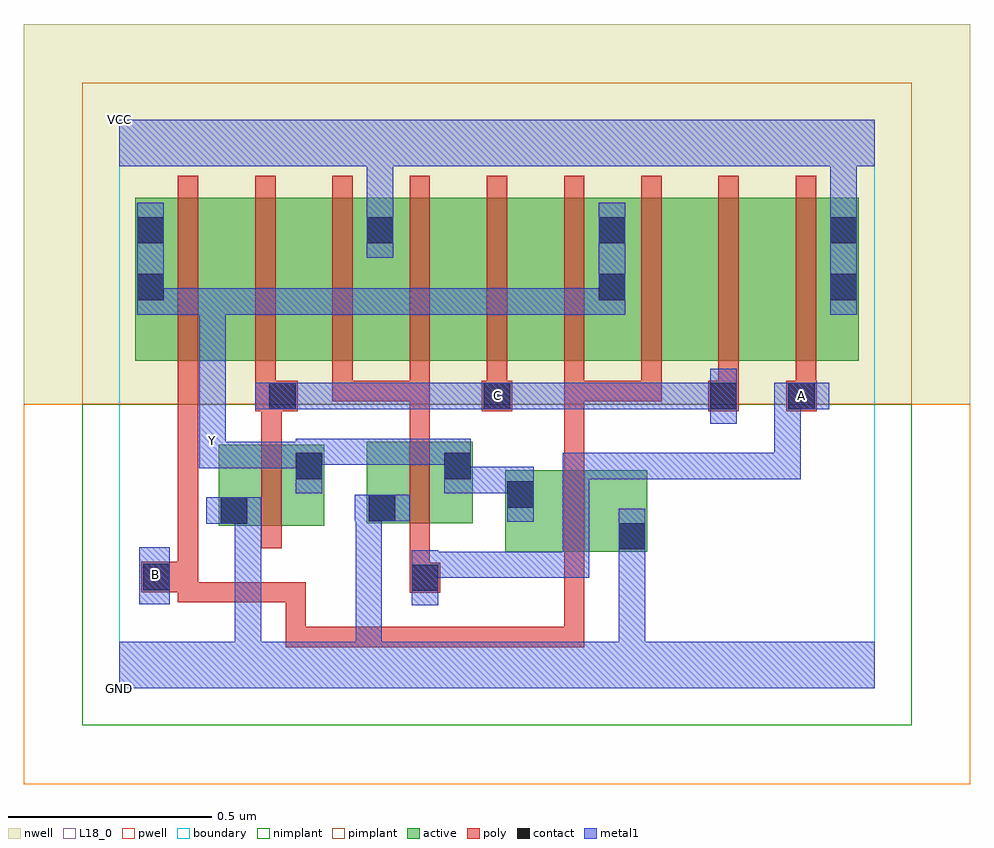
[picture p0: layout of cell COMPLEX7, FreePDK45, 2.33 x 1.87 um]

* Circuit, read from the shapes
.subckt COMPLEX7 A B C GND VCC Y
M1 Y C GND VSUBS nfet w=0.2u l=0.05u
M2 Y A GND VSUBS nfet w=0.2u l=0.05u
M3 GND B Y VSUBS nfet w=0.2u l=0.05u
M4 n1 B Y n2 pfet w=0.4u l=0.05u
M5 n3 C n1 n2 pfet w=0.4u l=0.05u
M6 VCC A n3 n2 pfet w=0.4u l=0.05u
M7 n4 A VCC n2 pfet w=0.4u l=0.05u
M8 n5 C n4 n2 pfet w=0.4u l=0.05u
M9 Y B n5 n2 pfet w=0.4u l=0.05u
M10 n6 B Y n2 pfet w=0.4u l=0.05u
M11 n7 C n6 n2 pfet w=0.4u l=0.05u
M12 VCC A n7 n2 pfet w=0.4u l=0.05u
.ends

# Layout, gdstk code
import gdstk
lib = gdstk.Library(unit=1e-6, precision=1e-09)
def R(c, l, rs):  # rectangles x0, y0, x1, y1
    for r in rs: c.add(gdstk.rectangle(r[:2], r[2:], *l))
def A(c, l, x, y, w, h, nx, ny, dx, dy):  # array of equal rectangles
    R(c, l, [(x+i*dx, y+j*dy, x+i*dx+w, y+j*dy+h) for i in range(nx) for j in range(ny)])
active = (1, 0)
pwell = (2, 0)
nwell = (3, 0)
nimplant = (4, 0)
pimplant = (5, 0)
poly = (9, 0)
contact = (10, 0)
metal1 = (11, 0)
L18_0 = (18, 0)
boundary = (235, 0)

complex7 = lib.new_cell('COMPLEX7')
A(complex7, active, 0.265, 0.807, 0.19, 0.4, 3, 1, 0.57, 0)
A(complex7, active, 0.455, 0.807, 0.225, 0.4, 3, 1, 0.57, 0)
R(complex7, active, [(0.95,0.337,1.3,0.537), (1.225,0.337,1.3,0.537), (0.245,0.4,0.32,0.6), (0.245,0.4,0.505,0.6), (0.43,0.4,0.505,0.6), (0.61,0.407,0.685,0.607), (0.61,0.407,0.87,0.607), (0.795,0.407,0.87,0.607), (0.95,0.44,1.025,0.537), (0.04,0.807,0.265,1.207), (0.04,0.807,0.115,1.165), (0.605,0.807,0.68,1.207), (0.605,0.807,0.835,1.207), (1.175,0.807,1.405,1.207), (1.175,0.807,1.25,1.2), (1.745,0.807,1.82,1.207)])
R(complex7, pwell, [(-0.235,-0.235,2.095,0.7)])
R(complex7, nwell, [(-0.235,0.7,2.095,1.635)])
R(complex7, nimplant, [(-0.09,-0.09,1.95,0.7)])
R(complex7, pimplant, [(-0.09,0.7,1.95,1.49)])
A(complex7, poly, 0.335, 0.707, 0.05, 0.095, 8, 1, 0.19, 0)
A(complex7, poly, 0.145, 0.752, 0.05, 0.51, 9, 1, 0.19, 0)
R(complex7, poly, [(0.41,0.102,0.46,0.152), (0.41,0.102,0.707,0.152), (0.41,0.102,0.46,0.262), (0.657,0.102,0.707,0.152), (0.657,0.102,0.707,0.152), (0.657,0.102,0.707,0.152), (0.657,0.102,0.84,0.152), (0.79,0.102,0.84,0.152), (0.79,0.102,0.972,0.152), (0.922,0.102,0.972,0.152), (0.922,0.102,0.972,0.152), (0.922,0.102,0.972,0.152), (0.922,0.102,0.972,0.152), (0.922,0.102,0.972,0.152), (0.922,0.102,1.145,0.152), (1.095,0.102,1.145,0.152), (1.095,0.102,1.145,0.332), (0.145,0.212,0.195,0.262), (0.145,0.212,0.195,0.262), (0.145,0.212,0.195,0.262), (0.145,0.212,0.195,0.262), (0.145,0.212,0.195,0.262), (0.145,0.212,0.195,0.262), (0.145,0.212,0.195,0.262), (0.145,0.212,0.327,0.262), (0.145,0.212,0.195,0.287), (0.277,0.212,0.327,0.262), (0.277,0.212,0.327,0.262), (0.277,0.212,0.327,0.262), (0.277,0.212,0.46,0.262), (0.41,0.212,0.46,0.262), (0.715,0.235,0.79,0.31), (0.055,0.237,0.195,0.312), (0.715,0.26,0.765,0.402), (0.145,0.262,0.195,0.802), (1.095,0.282,1.145,0.592), (0.35,0.345,0.4,0.655), (0.715,0.352,0.765,0.662), (1.095,0.542,1.145,0.757), (0.35,0.605,0.4,0.732), (0.715,0.612,0.765,0.757), (0.335,0.682,0.44,0.757), (0.892,0.682,0.967,0.757), (1.45,0.682,1.525,0.757), (1.642,0.682,1.717,0.757), (0.525,0.707,0.575,0.757), (0.525,0.707,0.707,0.757), (0.657,0.707,0.707,0.757), (0.657,0.707,0.765,0.757), (0.715,0.707,0.765,0.757), (1.095,0.707,1.335,0.757), (1.095,0.707,1.145,0.757), (1.095,0.707,1.145,0.757), (1.095,0.707,1.145,0.757), (1.285,0.707,1.335,0.757)])
A(complex7, contact, 0.61, 1.095, 0.065, 0.065, 3, 1, 0.57, 0)
R(complex7, contact, [(0.72,0.24,0.785,0.305), (0.06,0.242,0.125,0.307), (1.23,0.342,1.295,0.407), (0.25,0.405,0.315,0.47), (0.615,0.412,0.68,0.477), (0.955,0.445,1.02,0.51), (0.435,0.515,0.5,0.58), (0.8,0.515,0.865,0.58), (0.37,0.687,0.435,0.752), (0.897,0.687,0.962,0.752), (1.455,0.687,1.52,0.752), (1.647,0.687,1.712,0.752), (0.045,0.955,0.11,1.02), (1.18,0.955,1.245,1.02), (1.75,0.955,1.815,1.02), (0.045,1.095,0.11,1.16)])
R(complex7, metal1, [(0,0,1.86,0.115), (0.285,0.05,0.35,0.135), (0.582,0.05,0.647,0.115), (0.582,0.05,0.647,0.115), (0.582,0.05,0.647,0.115), (0.582,0.05,0.647,0.115), (0.582,0.05,0.647,0.115), (0.582,0.05,0.647,0.115), (0.582,0.05,0.647,0.477), (1.23,0.05,1.295,0.372), (0.285,0.07,0.35,0.135), (0.285,0.07,0.35,0.135), (0.285,0.07,0.35,0.135), (0.285,0.07,0.35,0.135), (0.285,0.07,0.35,0.135), (0.285,0.07,0.35,0.47), (0.72,0.205,0.785,0.34), (0.05,0.207,0.125,0.347), (0.72,0.272,0.785,0.337), (0.72,0.272,0.785,0.337), (0.72,0.272,1.02,0.337), (0.955,0.272,1.02,0.337), (0.955,0.272,1.02,0.337), (0.955,0.272,1.02,0.337), (0.955,0.272,1.02,0.337), (0.955,0.272,1.02,0.337), (0.955,0.272,1.157,0.337), (1.092,0.272,1.157,0.337), (1.092,0.272,1.157,0.58), (1.23,0.307,1.295,0.372), (1.23,0.307,1.295,0.372), (1.23,0.307,1.295,0.372), (1.23,0.307,1.295,0.372), (1.23,0.307,1.295,0.372), (1.23,0.307,1.295,0.372), (1.23,0.307,1.295,0.442), (0.215,0.405,0.35,0.47), (0.955,0.41,1.02,0.545), (0.58,0.412,0.715,0.477), (0.435,0.48,0.5,0.615), (0.8,0.48,0.865,0.615), (0.8,0.48,1.02,0.545), (0.955,0.48,1.02,0.545), (0.955,0.48,1.02,0.545), (1.092,0.515,1.157,0.58), (1.092,0.515,1.157,0.58), (1.092,0.515,1.157,0.58), (1.092,0.515,1.382,0.58), (1.317,0.515,1.382,0.58), (1.317,0.515,1.54,0.58), (1.475,0.515,1.54,0.58), (1.475,0.515,1.54,0.58), (1.475,0.515,1.54,0.58), (1.475,0.515,1.677,0.58), (1.612,0.515,1.677,0.58), (1.612,0.515,1.677,0.752), (0.197,0.542,0.262,0.607), (0.197,0.542,0.262,0.607), (0.197,0.542,0.262,0.607), (0.197,0.542,0.262,0.607), (0.197,0.542,0.262,0.677), (0.197,0.542,0.5,0.607), (0.435,0.55,0.607,0.615), (0.542,0.55,0.607,0.615), (0.542,0.55,0.637,0.615), (0.572,0.55,0.637,0.615), (0.572,0.55,0.745,0.615), (0.68,0.55,0.745,0.615), (0.68,0.55,0.865,0.615), (0.197,0.612,0.262,0.985), (1.455,0.652,1.52,0.787), (0.335,0.687,0.47,0.752), (0.405,0.687,0.47,0.752), (0.405,0.687,0.47,0.752), (0.405,0.687,0.607,0.752), (0.542,0.687,0.607,0.752), (0.542,0.687,0.637,0.752), (0.572,0.687,0.637,0.752), (0.572,0.687,0.79,0.752), (0.725,0.687,0.79,0.752), (0.725,0.687,0.882,0.752), (0.817,0.687,0.882,0.752), (0.817,0.687,0.927,0.752), (0.862,0.687,1.02,0.752), (0.955,0.687,1.02,0.752), (0.955,0.687,1.02,0.752), (0.955,0.687,1.245,0.752), (1.18,0.687,1.245,0.752), (1.18,0.687,1.245,0.752), (1.18,0.687,1.245,0.752), (1.18,0.687,1.382,0.752), (1.317,0.687,1.382,0.752), (1.317,0.687,1.52,0.752), (1.455,0.687,1.52,0.752), (1.455,0.687,1.52,0.752), (1.612,0.687,1.677,0.752), (1.612,0.687,1.677,0.752), (1.612,0.687,1.747,0.752), (0.045,0.92,0.11,1.195), (0.045,0.92,0.11,0.985), (0.045,0.92,0.11,0.985), (0.045,0.92,0.262,0.985), (0.197,0.92,0.262,0.985), (0.197,0.92,0.262,0.985), (0.197,0.92,0.262,0.985), (0.197,0.92,0.47,0.985), (0.405,0.92,0.47,0.985), (0.405,0.92,0.607,0.985), (0.542,0.92,0.607,0.985), (0.542,0.92,0.637,0.985), (0.572,0.92,0.637,0.985), (0.572,0.92,0.79,0.985), (0.725,0.92,0.79,0.985), (0.725,0.92,0.79,0.985), (0.725,0.92,0.79,0.985), (0.725,0.92,1.02,0.985), (0.955,0.92,1.02,0.985), (0.955,0.92,1.02,0.985), (0.955,0.92,1.02,0.985), (0.955,0.92,1.245,0.985), (1.18,0.92,1.245,1.195), (1.18,0.92,1.245,0.985), (1.18,0.92,1.245,0.985), (1.75,0.92,1.815,1.195), (0.61,1.06,0.675,1.195), (0.61,1.13,0.675,1.35), (1.75,1.13,1.815,1.35), (0,1.285,1.86,1.4)])
R(complex7, L18_0, [(0,0,1.86,0.115), (0.285,0.05,0.35,0.135), (0.582,0.05,0.647,0.115), (0.582,0.05,0.647,0.115), (0.582,0.05,0.647,0.115), (0.582,0.05,0.647,0.115), (0.582,0.05,0.647,0.115), (0.582,0.05,0.647,0.115), (0.582,0.05,0.647,0.477), (1.23,0.05,1.295,0.372), (0.285,0.07,0.35,0.135), (0.285,0.07,0.35,0.135), (0.285,0.07,0.35,0.135), (0.285,0.07,0.35,0.135), (0.285,0.07,0.35,0.135), (0.285,0.07,0.35,0.47), (0.72,0.205,0.785,0.34), (0.05,0.207,0.125,0.347), (0.057,0.247,0.122,0.312), (0.72,0.272,0.785,0.337), (0.72,0.272,0.785,0.337), (0.72,0.272,1.02,0.337), (0.955,0.272,1.02,0.337), (0.955,0.272,1.02,0.337), (0.955,0.272,1.02,0.337), (0.955,0.272,1.02,0.337), (0.955,0.272,1.02,0.337), (0.955,0.272,1.157,0.337), (1.092,0.272,1.157,0.337), (1.092,0.272,1.157,0.58), (1.23,0.307,1.295,0.372), (1.23,0.307,1.295,0.372), (1.23,0.307,1.295,0.372), (1.23,0.307,1.295,0.372), (1.23,0.307,1.295,0.372), (1.23,0.307,1.295,0.372), (1.23,0.307,1.295,0.442), (0.215,0.405,0.35,0.47), (0.955,0.41,1.02,0.545), (0.58,0.412,0.715,0.477), (0.435,0.48,0.5,0.615), (0.8,0.48,0.865,0.615), (0.8,0.48,1.02,0.545), (0.955,0.48,1.02,0.545), (0.955,0.48,1.02,0.545), (1.092,0.515,1.157,0.58), (1.092,0.515,1.157,0.58), (1.092,0.515,1.157,0.58), (1.092,0.515,1.382,0.58), (1.317,0.515,1.382,0.58), (1.317,0.515,1.54,0.58), (1.475,0.515,1.54,0.58), (1.475,0.515,1.54,0.58), (1.475,0.515,1.54,0.58), (1.475,0.515,1.677,0.58), (1.612,0.515,1.677,0.58), (1.612,0.515,1.677,0.752), (0.197,0.542,0.262,0.607), (0.197,0.542,0.262,0.607), (0.197,0.542,0.262,0.607), (0.197,0.542,0.262,0.607), (0.197,0.542,0.262,0.677), (0.197,0.542,0.5,0.607), (0.435,0.55,0.607,0.615), (0.542,0.55,0.607,0.615), (0.542,0.55,0.637,0.615), (0.572,0.55,0.637,0.615), (0.572,0.55,0.745,0.615), (0.68,0.55,0.745,0.615), (0.68,0.55,0.865,0.615), (0.197,0.577,0.262,0.642), (0.197,0.612,0.262,0.985), (1.455,0.652,1.52,0.787), (0.335,0.687,0.47,0.752), (0.405,0.687,0.47,0.752), (0.405,0.687,0.47,0.752), (0.405,0.687,0.607,0.752), (0.542,0.687,0.607,0.752), (0.542,0.687,0.637,0.752), (0.572,0.687,0.637,0.752), (0.572,0.687,0.79,0.752), (0.725,0.687,0.79,0.752), (0.725,0.687,0.882,0.752), (0.817,0.687,0.882,0.752), (0.817,0.687,0.927,0.752), (0.862,0.687,1.02,0.752), (0.897,0.687,0.962,0.752), (0.955,0.687,1.02,0.752), (0.955,0.687,1.02,0.752), (0.955,0.687,1.245,0.752), (1.18,0.687,1.245,0.752), (1.18,0.687,1.245,0.752), (1.18,0.687,1.245,0.752), (1.18,0.687,1.382,0.752), (1.317,0.687,1.382,0.752), (1.317,0.687,1.52,0.752), (1.455,0.687,1.52,0.752), (1.455,0.687,1.52,0.752), (1.612,0.687,1.677,0.752), (1.612,0.687,1.677,0.752), (1.612,0.687,1.747,0.752), (1.647,0.687,1.712,0.752), (0.045,0.92,0.11,1.195), (0.045,0.92,0.11,0.985), (0.045,0.92,0.11,0.985), (0.045,0.92,0.262,0.985), (0.197,0.92,0.262,0.985), (0.197,0.92,0.262,0.985), (0.197,0.92,0.262,0.985), (0.197,0.92,0.47,0.985), (0.405,0.92,0.47,0.985), (0.405,0.92,0.607,0.985), (0.542,0.92,0.607,0.985), (0.542,0.92,0.637,0.985), (0.572,0.92,0.637,0.985), (0.572,0.92,0.79,0.985), (0.725,0.92,0.79,0.985), (0.725,0.92,0.79,0.985), (0.725,0.92,0.79,0.985), (0.725,0.92,1.02,0.985), (0.955,0.92,1.02,0.985), (0.955,0.92,1.02,0.985), (0.955,0.92,1.02,0.985), (0.955,0.92,1.245,0.985), (1.18,0.92,1.245,1.195), (1.18,0.92,1.245,0.985), (1.18,0.92,1.245,0.985), (1.75,0.92,1.815,1.195), (0.61,1.06,0.675,1.195), (0.61,1.13,0.675,1.35), (1.75,1.13,1.815,1.35), (0,1.285,1.86,1.4)])
R(complex7, boundary, [(0,0,1.86,1.4)])
complex7.add(gdstk.Label('A', (1.68,0.72), layer=11, texttype=0))
complex7.add(gdstk.Label('B', (0.09,0.28), layer=11, texttype=0))
complex7.add(gdstk.Label('C', (0.93,0.72), layer=11, texttype=0))
complex7.add(gdstk.Label('Y', (0.23,0.61), layer=11, texttype=0))
complex7.add(gdstk.Label('VCC', (0,1.4), layer=11, texttype=0))
complex7.add(gdstk.Label('GND', (0,0), layer=11, texttype=0))

lib.write_gds('COMPLEX7.gds')
